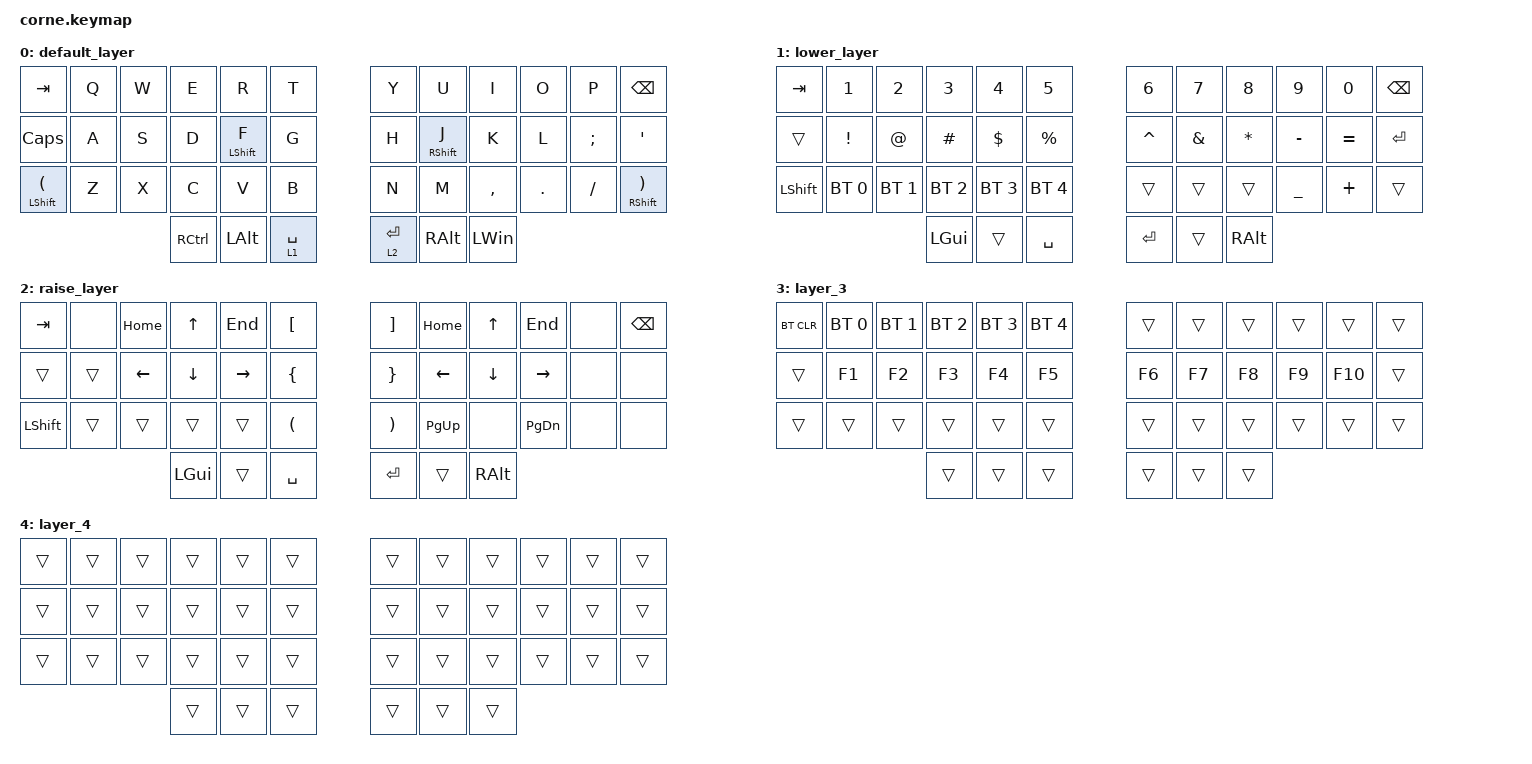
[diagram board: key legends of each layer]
/*
 * Copyright (c) 2020 The ZMK Contributors
 *
 * SPDX-License-Identifier: MIT
 */

#include <behaviors.dtsi>
#include <dt-bindings/zmk/bt.h>
#include <dt-bindings/zmk/keys.h>


/ {

   conditional_layers {
        compatible = "zmk,conditional-layers";

        layer_3 {
            if-layers = <1 2>;
            then-layer = <3>;
        };
    };

    keymap {
        compatible = "zmk,keymap";

        default_layer {
            // -----------------------------------------------------------------------------------------
            // |  TAB |  Q  |  W  |  E  |  R  |  T  |   |  Y  |  U   |  I  |  O  |  P  | BKSP |
            // | CTRL |  A  |  S  |  D  |  F  |  G  |   |  H  |  J   |  K  |  L  |  ;  |  '   |
            // | SHFT |  Z  |  X  |  C  |  V  |  B  |   |  N  |  M   |  ,  |  .  |  /  | ESC  |
            //                    | GUI | LWR | SPC |   | ENT | RSE  | ALT |

            bindings = <
&kp TAB                          &kp Q  &kp W  &kp E      &kp R         &kp T          &kp Y        &kp U              &kp I         &kp O    &kp P     &kp BSPC
&kp CAPS                         &kp A  &kp S  &kp D      &mt LSHIFT F  &kp G          &kp H        &mt RIGHT_SHIFT J  &kp K         &kp L    &kp SEMI  &kp SQT
&mt LEFT_SHIFT LEFT_PARENTHESIS  &kp Z  &kp X  &kp C      &kp V         &kp B          &kp N        &kp M              &kp COMMA     &kp DOT  &kp FSLH  &mt RIGHT_SHIFT RIGHT_PARENTHESIS
                                               &kp RCTRL  &kp LEFT_ALT  &lt 1 SPACE    &lt 2 ENTER  &kp RIGHT_ALT      &kp LEFT_WIN
            >;
        };

        lower_layer {
            // -----------------------------------------------------------------------------------------
            // |  TAB |  1  |  2  |  3  |  4  |  5  |   |  6  |  7  |  8  |  9  |  0  | BKSP |
            // | BTCLR| BT1 | BT2 | BT3 | BT4 | BT5 |   | LFT | DWN |  UP | RGT |     |      |
            // | SHFT |     |     |     |     |     |   |     |     |     |     |     |      |
            //                    | GUI |     | SPC |   | ENT |     | ALT |

            bindings = <
&kp TAB    &kp N1        &kp N2        &kp N3        &kp N4        &kp N5          &kp N6     &kp N7    &kp N8    &kp N9     &kp N0     &kp BSPC
&trans     &kp EXCL      &kp AT        &kp HASH      &kp DOLLAR    &kp PERCENT     &kp CARET  &kp AMPS  &kp STAR  &kp MINUS  &kp EQUAL  &kp ENTER
&kp LSHFT  &bt BT_SEL 0  &bt BT_SEL 1  &bt BT_SEL 2  &bt BT_SEL 3  &bt BT_SEL 4    &trans     &trans    &trans    &kp UNDER  &kp PLUS   &trans
                                       &kp LGUI      &trans        &kp SPACE       &kp RET    &trans    &kp RALT
            >;
        };

        raise_layer {
            // -----------------------------------------------------------------------------------------
            // |  TAB |  !  |  @  |  #  |  $  |  %  |   |  ^  |  &  |  *  |  (  |  )  | BKSP |
            // | CTRL |     |     |     |     |     |   |  -  |  =  |  [  |  ]  |  \  |  `   |
            // | SHFT |     |     |     |     |     |   |  _  |  +  |  {  |  }  | "|" |  ~   |
            //                    | GUI |     | SPC |   | ENT |     | ALT |

            bindings = <
&kp TAB    &none   &kp HOME  &kp UP    &kp END    &kp LEFT_BRACKET        &kp RIGHT_BRACKET      &kp HOME   &kp UP    &kp END        &none  &kp BSPC
&trans     &trans  &kp LEFT  &kp DOWN  &kp RIGHT  &kp LEFT_BRACE          &kp RIGHT_BRACE        &kp LEFT   &kp DOWN  &kp RIGHT      &none  &none
&kp LSHFT  &trans  &trans    &trans    &trans     &kp LEFT_PARENTHESIS    &kp RIGHT_PARENTHESIS  &kp PG_UP  &none     &kp PAGE_DOWN  &none  &none
                             &kp LGUI  &trans     &kp SPACE               &kp RET                &trans     &kp RALT
            >;
        };

        layer_3 {
            bindings = <
&bt BT_CLR  &bt BT_SEL 0  &bt BT_SEL 1  &bt BT_SEL 2  &bt BT_SEL 3  &bt BT_SEL 4    &trans  &trans  &trans  &trans  &trans   &trans
&trans      &kp F1        &kp F2        &kp F3        &kp F4        &kp F5          &kp F6  &kp F7  &kp F8  &kp F9  &kp F10  &trans
&trans      &trans        &trans        &trans        &trans        &trans          &trans  &trans  &trans  &trans  &trans   &trans
                                        &trans        &trans        &trans          &trans  &trans  &trans
            >;
        };

        layer_4 {
            bindings = <
&trans  &trans  &trans  &trans  &trans  &trans    &trans  &trans  &trans  &trans  &trans  &trans
&trans  &trans  &trans  &trans  &trans  &trans    &trans  &trans  &trans  &trans  &trans  &trans
&trans  &trans  &trans  &trans  &trans  &trans    &trans  &trans  &trans  &trans  &trans  &trans
                        &trans  &trans  &trans    &trans  &trans  &trans
            >;
        };
    };

 
};
